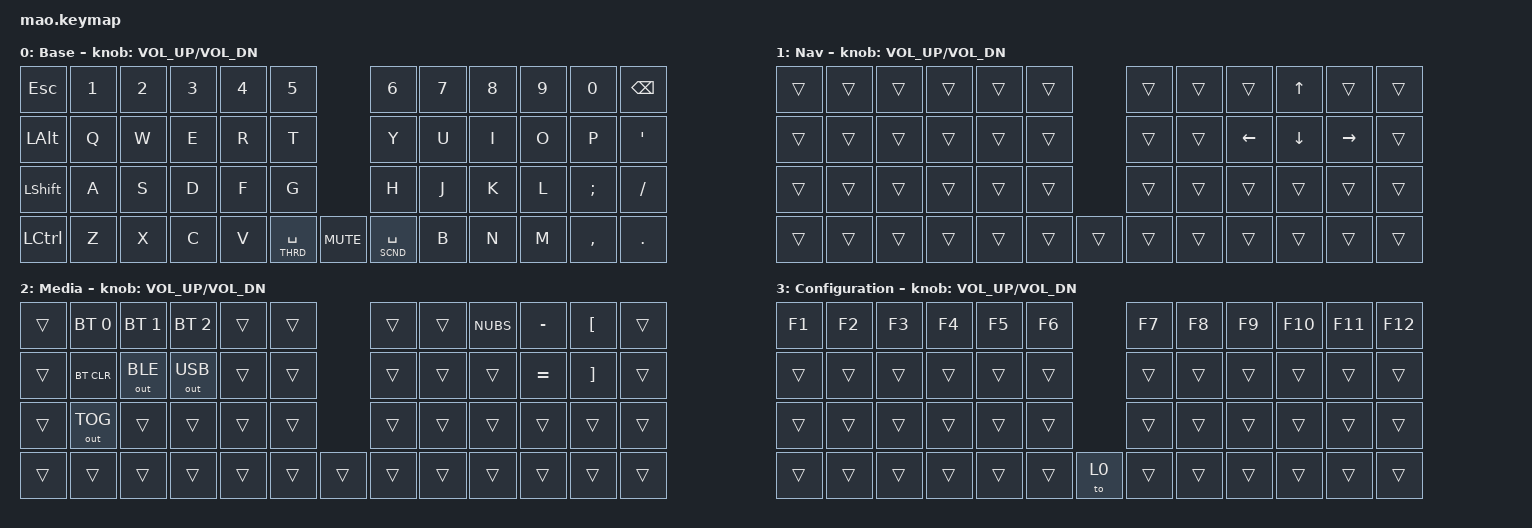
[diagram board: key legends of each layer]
/*
 * Copyright (c) 2020 The ZMK Contributors
 *
 * SPDX-License-Identifier: MIT
 */

#include <behaviors.dtsi>
#include <dt-bindings/zmk/keys.h>
#include <dt-bindings/zmk/bt.h>
#include <dt-bindings/zmk/outputs.h>
#include <dt-bindings/zmk/backlight.h>

#define FRST  0
#define SCND  1
#define THRD  2
#define FRTH  3


/ {

    combos {
        compatible = "zmk,combos";

	combo_fourth {
	    timeout-ms = <50>;
            key-positions = <5 6>;
            bindings = <&to 3>;
		layers = <FRST>;
	};

	combo_delete {
	    timeout-ms = <50>;
            key-positions = <10 11>;
            bindings = <&kp DEL>;
		layers = <FRST>;
	};
	combo_save {
	    timeout-ms = <50>;
            key-positions = <0 1>;
            bindings = <&kp LC(S)>;
		layers = <FRST>;
	};
	combo_tab {
	    timeout-ms = <50>;
            key-positions = <12 13>;
            bindings = <&kp TAB>;
		layers = <FRST>;
	};
	combo_enter {
	    timeout-ms = <50>;
            key-positions = <22 23>;
            bindings = <&kp ENTER>;
		layers = <FRST>;
	};

    };


        keymap {
                compatible = "zmk,keymap";

        base_layer {
            label = "Base";
            bindings = <
                &kp ESC		&kp N1		&kp N2		&kp N3		&kp N4		&kp N5								&kp N6			&kp N7		&kp N8		&kp N9		&kp N0		&kp BSPC
                &kp LALT	&kp Q		&kp W		&kp E		&kp R		&kp T								&kp Y			&kp U		&kp I		&kp O		&kp P    	&kp APOS
                &kp LSHFT	&kp A       &kp S		&kp D    	&kp F		&kp G								&kp H			&kp J		&kp K		&kp L		&kp SEMI	&kp FSLH
                &kp LCTRL	&kp Z		&kp X		&kp C		&kp V		&lt THRD SPACE		&kp C_MUTE		&lt SCND SPACE	&kp B		&kp N		&kp M		&kp COMMA	&kp DOT	
            >;
      sensor-bindings = <&inc_dec_kp C_VOL_UP C_VOL_DN>;
        };

        nav_layer {   
            label = "Nav";
            bindings = <
                &trans		&trans		&trans		&trans		&trans		&trans				    &trans		&trans		&trans		&kp UP			&trans		&trans
                &trans		&trans		&trans		&trans		&trans		&trans				    &trans		&trans		&kp LEFT	&kp DOWN		&kp RIGHT	&trans
                &trans		&trans		&trans		&trans		&trans		&trans				    &trans		&trans		&trans		&trans			&trans		&trans
                &trans		&trans		&trans		&trans		&trans		&trans		&trans		&trans		&trans		&trans		&trans			&trans		&trans
            >;
      sensor-bindings = <&inc_dec_kp C_VOL_UP C_VOL_DN>;
        };

        media_layer {
            label = "Media";
            bindings = <
                &trans		&bt BT_SEL 0	&bt BT_SEL 1	&bt BT_SEL 2		&trans		&trans					&trans		&trans		&kp NUBS	&kp MINUS	&kp LBKT	&trans
                &trans		&bt BT_CLR		&out OUT_BLE	&out OUT_USB		&trans		&trans					&trans		&trans		&trans		&kp EQUAL	&kp RBKT	&trans
                &trans		&out OUT_TOG	&trans			&trans				&trans		&trans					&trans		&trans		&trans		&trans		&trans		&trans
                &trans		&trans			&trans			&trans				&trans		&trans		&trans		&trans		&trans		&trans		&trans		&trans		&trans
            >;
      sensor-bindings = <&inc_dec_kp C_VOL_UP C_VOL_DN>;
        };

        configuration_layer {
            label = "Configuration";
            bindings = <
		        &kp F1		&kp F2			&kp F3 			&kp F4		&kp F5		&kp F6								&kp F7		&kp F8		&kp F9		&kp F10		&kp F11		&kp F12
                &trans		&trans			&trans			&trans		&trans		&trans								&trans		&trans		&trans		&trans		&trans		&trans
                &trans		&trans			&trans			&trans    	&trans		&trans								&trans		&trans		&trans		&trans		&trans		&trans
                &trans		&trans			&trans			&trans		&trans		&trans					&to 0		&trans		&trans		&trans		&trans		&trans		&trans
            >;
      sensor-bindings = <&inc_dec_kp C_VOL_UP C_VOL_DN>;
        };

	};
};
